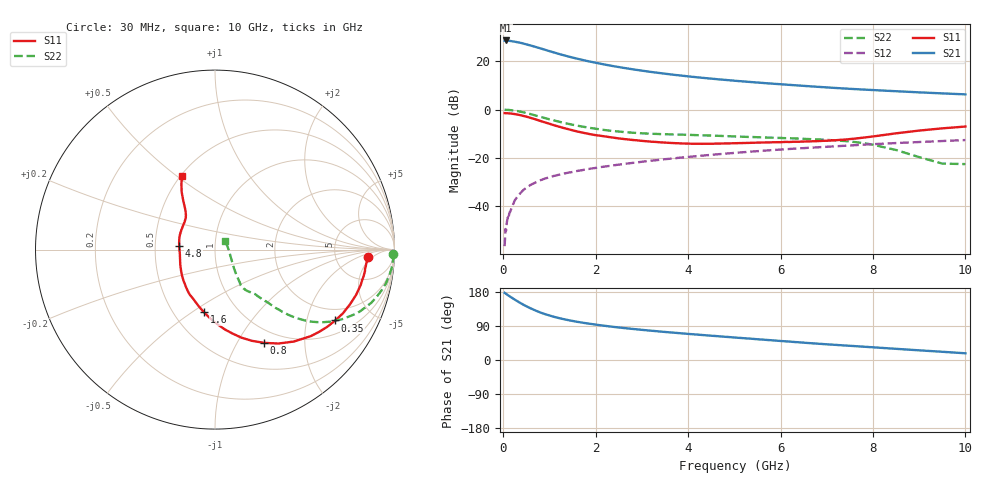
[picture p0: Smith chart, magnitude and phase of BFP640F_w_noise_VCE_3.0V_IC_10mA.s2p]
! Infineon Technologies  Discrete & RF Semiconductors
! BFP640F
! VCE =  3.0 V,  IC =  10 mA
! Common Emitter S-Parameters:  Apr 2013
# GHz  S  MA  R  50
!  f  S11  S21  S12  S22
! GHz  MAG  ANG  MAG  ANG  MAG  ANG  MAG  ANG
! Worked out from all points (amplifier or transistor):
!   99 points, 30 MHz to 10 GHz, reference 50 ohm
!   highest |S21| = 28.7 dB at 50 MHz (marker M1)
!   |S21| within 3 dB of that: start of sweep to 756.3 MHz
!   unconditionally stable (mu >= 1): 3.074 GHz to end of sweep
!   at 350 MHz: K = 0.19, MSG = 31.4 dB, |S12| = -35.0 dB
!   at 3.5 GHz: K = 1.02, MAG = 16.7 dB, |S12| = -20.5 dB
!   at 10 GHz: K = 1.07, MAG = 7.8 dB, |S12| = -12.6 dB
!   lowest NFmin = 0.63 dB at 450 MHz
!   S11 on the Smith chart (normalised r, x): 30 MHz: 11, -3; 350 MHz: 1.49, -2.98; 800 MHz: 0.82, -1.30; 1.6 GHz: 0.70, -0.56; 4.8 GHz: 0.67, +0.03; 10 GHz: 0.51, +0.52
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0.03  0.8507 -2.6  26.77 177.2  0.0015 84.7  0.9947 -1.5
0.05  0.8489 -4.5  27.1 175.7  0.0034 78.1  0.997 -2.7
0.12  0.8394 -10.9  26.69 169.6  0.0061 85.6  0.987 -6.8
0.2  0.8254 -17.9  25.98 163.2  0.0103 83.5  0.9708 -11.2
0.25  0.8111 -22.2  25.54 159.3  0.0133 80.2  0.9553 -13.8
0.35  0.7779 -30.5  24.45 151.9  0.0178 76.3  0.9197 -18.8
0.45  0.7388 -38.4  23.2 145.0  0.0224 73.7  0.8771 -23.2
0.6  0.6746 -49.4  21.21 135.9  0.0281 69.7  0.8063 -28.8
0.8  0.5862 -62.4  18.65 125.5  0.0346 65.6  0.7156 -34.5
1  0.5121 -73.3  16.27 117.5  0.0401 62.7  0.6338 -38.4
1.2  0.4479 -83.0  14.31 110.8  0.045 61.0  0.5667 -41.0
1.4  0.3971 -91.7  12.68 105.4  0.0496 59.8  0.5119 -42.7
1.6  0.3544 -99.9  11.38 100.8  0.054 58.7  0.4688 -43.9
1.7  0.3379 -103.7  10.79 98.8  0.056 58.8  0.4486 -44.2
2  0.2975 -114.7  9.363 93.4  0.0624 57.9  0.4042 -45.5
2.4  0.2629 -128.2  7.919 87.2  0.0709 56.8  0.3606 -47.1
3.4  0.2112 -156.1  5.713 75.1  0.0923 54.5  0.313 -49.8
4.8  0.2006 174.4  4.137 61.3  0.1231 49.9  0.2844 -52.7
5.1  0.2036 169.3  3.91 58.5  0.1298 48.7  0.2778 -53.1
6.7  0.2221 143.3  3.023 44.0  0.1646 41.4  0.2452 -54.2
8.5  0.3245 123.0  2.412 29.5  0.2042 32.6  0.1466 -44.2
10  0.4484 114.1  2.076 17.7  0.2357 24.7  0.0749 40.4
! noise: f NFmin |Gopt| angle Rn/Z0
0.45  0.63  0.2  7  0.06
0.9  0.63  0.19  19  0.06
1.5  0.65  0.18  28  0.07
1.9  0.67  0.17  43  0.08
2.4  0.7  0.15  55  0.08
3.5  0.79  0.12  85  0.1
5.5  0.99  0.13  -177  0.13
10  1.54  0.4  -98  0.34
